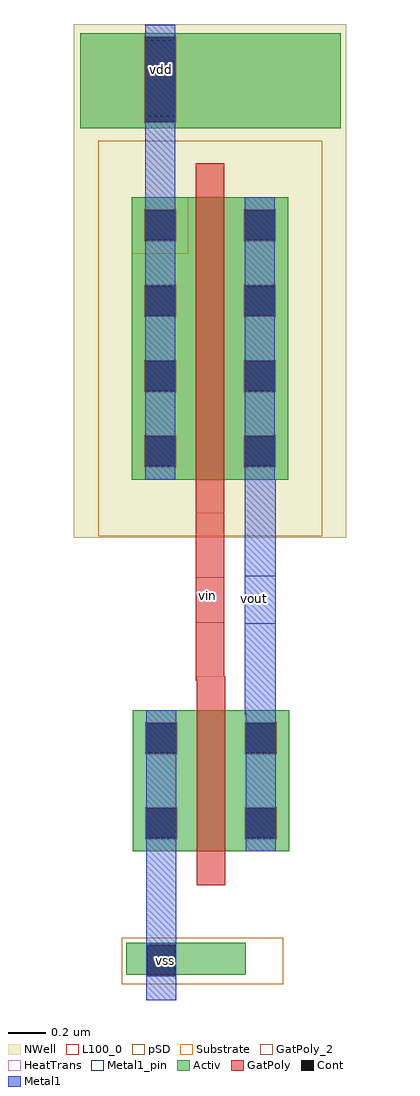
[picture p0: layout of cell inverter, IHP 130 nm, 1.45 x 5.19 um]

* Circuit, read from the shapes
.subckt inverter vdd vin vout vss
XM1 vout vin vss vss sg13_lv_nmos w=0.75u l=0.15u
XM2 vout vin vdd vdd sg13_lv_pmos w=1.5u l=0.15u
.ends

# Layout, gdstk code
from math import pi, radians
import gdstk
lib = gdstk.Library(unit=1e-6, precision=5e-09)
def R(c, l, rs):  # rectangles x0, y0, x1, y1
    for r in rs: c.add(gdstk.rectangle(r[:2], r[2:], *l))
def A(c, l, x, y, w, h, nx, ny, dx, dy):  # array of equal rectangles
    R(c, l, [(x+i*dx, y+j*dy, x+i*dx+w, y+j*dy+h) for i in range(nx) for j in range(ny)])
def P(c, l, *ps):  # polygons
    for p in ps: c.add(gdstk.Polygon(p, *l))
Activ = (1, 0)
GatPoly = (5, 0)
GatPoly_2 = (5, 2)
Cont = (6, 0)
Metal1 = (8, 0)
Metal1_pin = (8, 2)
pSD = (14, 0)
NWell = (31, 0)
Substrate = (40, 0)
HeatTrans = (51, 0)
L100_0 = (100, 0)

nmos_1 = lib.new_cell('nmos$1')
R(nmos_1, Activ, [(0,0,0.3,0.3), (0,0,0.83,0.75), (0.53,0,0.83,0.3)])
R(nmos_1, GatPoly, [(0.34,-0.18,0.49,0.93)])
R(nmos_1, GatPoly_2, [(0.34,-0.18,0.49,0.93)])
R(nmos_1, Cont, [(0.07,0.07,0.23,0.23), (0.6,0.07,0.76,0.23), (0.07,0.52,0.23,0.68), (0.6,0.52,0.76,0.68)])
R(nmos_1, Metal1, [(0.07,0,0.23,0.75), (0.6,0,0.76,0.75)])
R(nmos_1, Metal1_pin, [(0.07,0,0.23,0.75), (0.6,0,0.76,0.75)])
R(nmos_1, HeatTrans, [(0.34,-0.18,0.49,0.93)])
nmos_1.add(gdstk.Label('nmos', (0.415,0.375), layer=63, texttype=0))
nmos_1.add(gdstk.Label('nmos', (0.415,0.375), layer=51, texttype=0))

pmos_1 = lib.new_cell('pmos$1')
R(pmos_1, Activ, [(0,0,0.3,0.3), (0,0,0.83,1.5), (0.53,0,0.83,0.3)])
R(pmos_1, GatPoly, [(0.34,-0.18,0.49,1.68), (0.34,-0.18,0.49,1.68)])
A(pmos_1, Cont, 0.07, 0.07, 0.16, 0.16, 1, 4, 0, 0.4)
A(pmos_1, Cont, 0.6, 0.07, 0.16, 0.16, 1, 4, 0, 0.4)
R(pmos_1, Metal1, [(0.07,0,0.23,1.5), (0.07,0,0.23,1.5), (0.6,0,0.76,1.5), (0.6,0,0.76,1.5)])
R(pmos_1, pSD, [(-0.18,-0.3,1.01,1.8)])
R(pmos_1, NWell, [(-0.31,-0.31,1.14,1.81)])
R(pmos_1, Substrate, [(0.53,0,0.83,0.3)])
R(pmos_1, HeatTrans, [(0.34,-0.18,0.49,1.68)])
pmos_1.add(gdstk.Label('pmos', (0.415,0.75), layer=63, texttype=0))
pmos_1.add(gdstk.Label('pmos', (0.415,0.75), layer=51, texttype=0))

inverter = lib.new_cell('inverter')
R(inverter, Activ, [(-1.19,-1.615,-0.555,-1.445), (-1.435,2.88,-0.05,3.385)])
R(inverter, GatPoly, [(-0.82,-0.055,-0.67,0.835)])
R(inverter, GatPoly_2, [(-0.82,0.255,-0.67,0.495)])
R(inverter, Cont, [(-1.08,-1.615,-0.93,-1.46), (-1.09,2.915,-0.93,3.365)])
R(inverter, Metal1, [(-1.085,-1.75,-0.925,-0.96), (-0.56,-0.235,-0.395,1.015), (-1.09,2.515,-0.93,3.43)])
P(inverter, Metal1, [(-1.085,-0.96),(-1.085,-0.96),(-0.925,-0.96),(-0.925,-0.96)])
R(inverter, Metal1_pin, [(-1.085,-1.625,-0.925,-1.45), (-0.56,0.25,-0.395,0.505), (-1.09,2.945,-0.93,3.35)])
R(inverter, pSD, [(-1.215,-1.665,-0.355,-1.42)])
R(inverter, NWell, [(-1.47,2.825,-0.02,3.435)])
R(inverter, L100_0, [(-1.085,-1.62,-0.925,-1.455), (-1.085,-1.62,-0.925,-1.455), (-1.09,-0.895,-0.92,-0.725), (-1.09,-0.895,-0.92,-0.725), (-0.56,-0.895,-0.39,-0.725), (-0.56,-0.895,-0.39,-0.725), (-1.09,-0.445,-0.92,-0.275), (-1.09,-0.445,-0.92,-0.275), (-0.56,-0.445,-0.39,-0.275), (-0.56,-0.445,-0.39,-0.275), (-1.095,1.08,-0.925,1.25), (-1.095,1.08,-0.925,1.25), (-0.565,1.08,-0.395,1.25), (-0.565,1.08,-0.395,1.25), (-1.095,1.48,-0.925,1.65), (-1.095,1.48,-0.925,1.65), (-0.565,1.48,-0.395,1.65), (-0.565,1.48,-0.395,1.65), (-1.095,1.88,-0.925,2.05), (-1.095,1.88,-0.925,2.05), (-0.565,1.88,-0.395,2.05), (-0.565,1.88,-0.395,2.05), (-1.095,2.28,-0.925,2.45), (-1.095,2.28,-0.925,2.45), (-0.565,2.28,-0.395,2.45), (-0.565,2.28,-0.395,2.45), (-1.095,2.91,-0.925,3.37)])
inverter.add(gdstk.Reference(nmos_1, (-0.325,-0.21), rotation=pi))
inverter.add(gdstk.Reference(pmos_1, (-0.33,2.515), rotation=pi))
inverter.add(gdstk.Label('vout', (-0.51,0.385), layer=8, texttype=2))
inverter.add(gdstk.Label('vss', (-0.98,-1.54), layer=8, texttype=2))
inverter.add(gdstk.Label('vdd', (-1.005,3.195), layer=8, texttype=2))
inverter.add(gdstk.Label('vin', (-0.76,0.4), layer=5, texttype=2))

lib.write_gds('inverter.gds')
